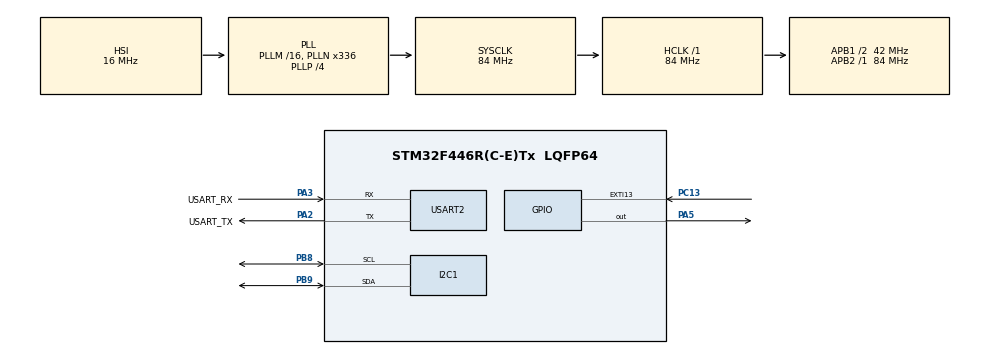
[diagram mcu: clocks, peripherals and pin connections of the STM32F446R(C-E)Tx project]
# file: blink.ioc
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Mcu.Family=STM32F4
Mcu.Name=STM32F446R(C-E)Tx
Mcu.Package=LQFP64
NUCLEO-F446RE.BUTTON=1
NUCLEO-F446RE.LD1=true
NVIC.EXTI15_10_IRQn=true\:0\:0\:false\:false\:true\:false\:true\:true
NVIC.PriorityGroup=NVIC_PRIORITYGROUP_0
PA13.GPIO_Label=TMS
PA13.Signal=SYS_JTMS-SWDIO
PA14.GPIO_Label=TCK
PA14.Signal=SYS_JTCK-SWCLK
PA2.GPIO_Label=USART_TX
PA2.Mode=Asynchronous
PA2.Signal=USART2_TX
PA3.GPIO_Label=USART_RX
PA3.Mode=Asynchronous
PA3.Signal=USART2_RX
PA5.Signal=GPIO_Output
PB3.GPIO_Label=SWO
PB3.Signal=SYS_JTDO-SWO
PB8.Mode=I2C
PB8.Signal=I2C1_SCL
PB9.Mode=I2C
PB9.Signal=I2C1_SDA
PC13.Signal=GPXTI13
PC14-OSC32_IN.Signal=RCC_OSC32_IN
PC15-OSC32_OUT.Signal=RCC_OSC32_OUT
PH0-OSC_IN.Signal=RCC_OSC_IN
PH1-OSC_OUT.Signal=RCC_OSC_OUT
ProjectManager.HeapSize=0x200
ProjectManager.StackSize=0x400
ProjectManager.TargetToolchain=STM32CubeIDE
RCC.AHBFreq_Value=84000000
RCC.APB1CLKDivider=RCC_HCLK_DIV2
RCC.APB1Freq_Value=42000000
RCC.APB1TimFreq_Value=84000000
RCC.APB2Freq_Value=84000000
RCC.APB2TimFreq_Value=84000000
RCC.CortexFreq_Value=84000000
RCC.FLatency-AdvancedSettings=FLASH_LATENCY_2
RCC.HCLKFreq_Value=84000000
RCC.HSE_VALUE=8000000
RCC.HSI_VALUE=16000000
RCC.LSE_VALUE=32768
RCC.PLLN=336
RCC.PLLP=RCC_PLLP_DIV4
RCC.SYSCLKFreq_VALUE=84000000
RCC.SYSCLKSource=RCC_SYSCLKSOURCE_PLLCLK
RCC.USBFreq_Value=168000000
RCC.VCOOutputFreq_Value=336000000
USART2.VirtualMode=VM_ASYNC
VP_NUCLEO-F446RE_VS_BSP_COMMON.Mode=COMMON
board=NUCLEO-F446RE

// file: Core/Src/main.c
/* USER CODE BEGIN Header */
/**
  ******************************************************************************
  * @file           : main.c
  * @brief          : Main program body
  ******************************************************************************
  * @attention
  *
  * Copyright (c) 2026 STMicroelectronics.
  * All rights reserved.
  *
  * This software is licensed under terms that can be found in the LICENSE file
  * in the root directory of this software component.
  * If no LICENSE file comes with this software, it is provided AS-IS.
  *
  ******************************************************************************
  */
/* USER CODE END Header */
#include "main.h"

/* USER CODE BEGIN Includes */
#include <stdio.h>
/* USER CODE END Includes */

/* USER CODE BEGIN PD */
#define BME_ADDR (0x77 << 1)
#define LSM_ADDR (0x6A << 1)
/* USER CODE END PD */

I2C_HandleTypeDef hi2c1;

UART_HandleTypeDef huart2;

/* USER CODE BEGIN PV */
uint16_t dig_T1;
int16_t  dig_T2, dig_T3;
/* USER CODE END PV */

void SystemClock_Config(void);
static void MX_GPIO_Init(void);
static void MX_USART2_UART_Init(void);
static void MX_I2C1_Init(void);

/* USER CODE BEGIN 0 */
int __io_putchar(int ch)
{
  HAL_UART_Transmit(&huart2, (uint8_t *)&ch, 1, HAL_MAX_DELAY);
  return ch;
}

#define I2C_TIMEOUT 100000U

// Wait for a status flag in SR1. Returns 0 if it appeared, negative on error.
static int i2c_wait_sr1(uint32_t flag)
{
  uint32_t t = I2C_TIMEOUT;
  while (!(I2C1->SR1 & flag))
  {
    if (I2C1->SR1 & I2C_SR1_AF)        // device answered NACK
    {
      I2C1->SR1 &= ~I2C_SR1_AF;
      I2C1->CR1 |= I2C_CR1_STOP;
      return -1;
    }
    if (--t == 0)                      // gave up waiting
    {
      I2C1->CR1 |= I2C_CR1_STOP;
      return -2;
    }
  }
  return 0;
}

// Write one byte to one sensor register
static int i2c_write_reg(uint8_t addr, uint8_t reg, uint8_t value)
{
  I2C1->CR1 |= I2C_CR1_START;                  // 1. START
  if (i2c_wait_sr1(I2C_SR1_SB)) return -1;

  I2C1->DR = addr;                         // 2. address + write bit (0)
  if (i2c_wait_sr1(I2C_SR1_ADDR)) return -2;
  (void)I2C1->SR2;                             //    reading SR1 then SR2 clears ADDR

  I2C1->DR = reg;                              // 3. which register
  if (i2c_wait_sr1(I2C_SR1_TXE)) return -3;

  I2C1->DR = value;                            // 4. the value
  if (i2c_wait_sr1(I2C_SR1_BTF)) return -4;    //    wait until it's fully sent

  I2C1->CR1 |= I2C_CR1_STOP;                   // 5. STOP
  while (I2C1->CR1 & I2C_CR1_STOP);            //    wait for STOP to finish
  return 0;
}

// Read 'len' bytes starting at sensor register 'reg'
static int i2c_read_regs(uint8_t addr, uint8_t reg, uint8_t *buf, uint8_t len)
{
  // Part 1: tell the sensor which register we want
  I2C1->CR1 |= I2C_CR1_START;
  if (i2c_wait_sr1(I2C_SR1_SB)) return -1;
  I2C1->DR = addr;                         // address + write bit
  if (i2c_wait_sr1(I2C_SR1_ADDR)) return -2;
  (void)I2C1->SR2;
  I2C1->DR = reg;
  if (i2c_wait_sr1(I2C_SR1_BTF)) return -3;

  // Part 2: repeated START, then switch to reading
  I2C1->CR1 |= I2C_CR1_START;
  if (i2c_wait_sr1(I2C_SR1_SB)) return -4;
  I2C1->DR = addr | 1;                     // address + read bit (1)

  if (len == 1)
  {
    if (i2c_wait_sr1(I2C_SR1_ADDR)) return -5;
    I2C1->CR1 &= ~I2C_CR1_ACK;                 // NACK the only byte
    (void)I2C1->SR2;
    I2C1->CR1 |= I2C_CR1_STOP;
  }
  else
  {
    I2C1->CR1 |= I2C_CR1_ACK;                  // ACK every byte except the last
    if (i2c_wait_sr1(I2C_SR1_ADDR)) return -5;
    (void)I2C1->SR2;
  }

  for (uint8_t i = 0; i < len; i++)
  {
    if (i2c_wait_sr1(I2C_SR1_RXNE)) return -6;
    buf[i] = I2C1->DR;
    if (i == len - 2)                          // the last byte is arriving now:
    {
      I2C1->CR1 &= ~I2C_CR1_ACK;               //   NACK it
      I2C1->CR1 |= I2C_CR1_STOP;               //   and STOP right after
    }
  }
  while (I2C1->CR1 & I2C_CR1_STOP);
  return 0;
}

/* USER CODE END 0 */

int main(void)
{

  /* MCU Configuration--------------------------------------------------------*/

  /* Reset of all peripherals, Initializes the Flash interface and the Systick. */
  HAL_Init();

  /* Configure the system clock */
  SystemClock_Config();

  /* Initialize all configured peripherals */
  MX_GPIO_Init();
  MX_USART2_UART_Init();
  MX_I2C1_Init();
  /* USER CODE BEGIN 2 */
  uint8_t id = 0;
  int err;

  // LSM6DSOX: check ID, then turn on accel + gyro
  err = i2c_read_regs(LSM_ADDR, 0x0F, &id, 1);
  printf("LSM6DSOX: err=%d, ID=0x%02X (expect 0x6C)\r\n", err, id);
  i2c_write_reg(LSM_ADDR, 0x12, 0x44);  // CTRL3_C
  i2c_write_reg(LSM_ADDR, 0x10, 0x40);  // CTRL1_XL
  i2c_write_reg(LSM_ADDR, 0x11, 0x40);  // CTRL2_G

  // BME280: check ID, start measuring, read calibration
  err = i2c_read_regs(BME_ADDR, 0xD0, &id, 1);
  printf("BME280:   err=%d, ID=0x%02X (expect 0x60)\r\n", err, id);
  i2c_write_reg(BME_ADDR, 0xF4, 0x27);  // ctrl_meas: temp + pressure on, normal mode

  uint8_t cal[6];
  i2c_read_regs(BME_ADDR, 0x88, cal, 6);
  dig_T1 = (uint16_t)(cal[1] << 8 | cal[0]);
  dig_T2 = (int16_t)(cal[3] << 8 | cal[2]);
  dig_T3 = (int16_t)(cal[5] << 8 | cal[4]);
  /* USER CODE END 2 */

  /* Initialize leds */
  BSP_LED_Init(LED2);

  /* Initialize USER push-button, will be used to trigger an interrupt each time it's pressed.*/
  BSP_PB_Init(BUTTON_USER, BUTTON_MODE_EXTI);

  /* Infinite loop */
  while (1)
  {

    /* USER CODE BEGIN 3 */
    HAL_GPIO_TogglePin(GPIOA, GPIO_PIN_5);
    HAL_Delay(200);

    uint8_t raw[12];
    if (i2c_read_regs(LSM_ADDR, 0x22, raw, 12) == 0)
    {
      int16_t gx = (int16_t)(raw[1]  << 8 | raw[0]);
      int16_t gy = (int16_t)(raw[3]  << 8 | raw[2]);
      int16_t gz = (int16_t)(raw[5]  << 8 | raw[4]);
      int16_t ax = (int16_t)(raw[7]  << 8 | raw[6]);
      int16_t ay = (int16_t)(raw[9]  << 8 | raw[8]);
      int16_t az = (int16_t)(raw[11] << 8 | raw[10]);

      printf("accel (mg): %6d %6d %6d | gyro (dps): %4d %4d %4d\r\n",
             ax * 61 / 1000, ay * 61 / 1000, az * 61 / 1000,
             gx * 875 / 100000, gy * 875 / 100000, gz * 875 / 100000);
    }
    uint8_t t[3];
    if (i2c_read_regs(BME_ADDR, 0xFA, t, 3) == 0)
    {
      int32_t adc_T = ((int32_t)t[0] << 12) | ((int32_t)t[1] << 4) | (t[2] >> 4);

      // Bosch's official integer formula from the BME280 datasheet
      int32_t var1 = ((((adc_T >> 3) - ((int32_t)dig_T1 << 1))) * ((int32_t)dig_T2)) >> 11;
      int32_t var2 = (((((adc_T >> 4) - ((int32_t)dig_T1)) *
                        ((adc_T >> 4) - ((int32_t)dig_T1))) >> 12) * ((int32_t)dig_T3)) >> 14;
      int32_t temp = ((var1 + var2) * 5 + 128) >> 8;   // in hundredths of a degree C

      printf("temp: %ld.%02ld C\r\n", temp / 100, temp % 100);
    }
  }
  /* USER CODE END 3 */
}

void SystemClock_Config(void)
{
  RCC_OscInitTypeDef RCC_OscInitStruct = {0};
  RCC_ClkInitTypeDef RCC_ClkInitStruct = {0};

  /** Configure the main internal regulator output voltage
  */
  __HAL_RCC_PWR_CLK_ENABLE();
  __HAL_PWR_VOLTAGESCALING_CONFIG(PWR_REGULATOR_VOLTAGE_SCALE3);

  /** Initializes the RCC Oscillators according to the specified parameters
  * in the RCC_OscInitTypeDef structure.
  */
  RCC_OscInitStruct.OscillatorType = RCC_OSCILLATORTYPE_HSI;
  RCC_OscInitStruct.HSIState = RCC_HSI_ON;
  RCC_OscInitStruct.HSICalibrationValue = RCC_HSICALIBRATION_DEFAULT;
  RCC_OscInitStruct.PLL.PLLState = RCC_PLL_ON;
  RCC_OscInitStruct.PLL.PLLSource = RCC_PLLSOURCE_HSI;
  RCC_OscInitStruct.PLL.PLLM = 16;
  RCC_OscInitStruct.PLL.PLLN = 336;
  RCC_OscInitStruct.PLL.PLLP = RCC_PLLP_DIV4;
  RCC_OscInitStruct.PLL.PLLQ = 2;
  RCC_OscInitStruct.PLL.PLLR = 2;
  if (HAL_RCC_OscConfig(&RCC_OscInitStruct) != HAL_OK)
  {
    Error_Handler();
  }

  /** Initializes the CPU, AHB and APB buses clocks
  */
  RCC_ClkInitStruct.ClockType = RCC_CLOCKTYPE_HCLK|RCC_CLOCKTYPE_SYSCLK
                              |RCC_CLOCKTYPE_PCLK1|RCC_CLOCKTYPE_PCLK2;
  RCC_ClkInitStruct.SYSCLKSource = RCC_SYSCLKSOURCE_PLLCLK;
  RCC_ClkInitStruct.AHBCLKDivider = RCC_SYSCLK_DIV1;
  RCC_ClkInitStruct.APB1CLKDivider = RCC_HCLK_DIV2;
  RCC_ClkInitStruct.APB2CLKDivider = RCC_HCLK_DIV1;

  if (HAL_RCC_ClockConfig(&RCC_ClkInitStruct, FLASH_LATENCY_2) != HAL_OK)
  {
    Error_Handler();
  }
}

static void MX_I2C1_Init(void)
{

  hi2c1.Instance = I2C1;
  hi2c1.Init.ClockSpeed = 100000;
  hi2c1.Init.DutyCycle = I2C_DUTYCYCLE_2;
  hi2c1.Init.OwnAddress1 = 0;
  hi2c1.Init.AddressingMode = I2C_ADDRESSINGMODE_7BIT;
  hi2c1.Init.DualAddressMode = I2C_DUALADDRESS_DISABLE;
  hi2c1.Init.OwnAddress2 = 0;
  hi2c1.Init.GeneralCallMode = I2C_GENERALCALL_DISABLE;
  hi2c1.Init.NoStretchMode = I2C_NOSTRETCH_DISABLE;
  if (HAL_I2C_Init(&hi2c1) != HAL_OK)
  {
    Error_Handler();
  }

}

static void MX_USART2_UART_Init(void)
{

  huart2.Instance = USART2;
  huart2.Init.BaudRate = 115200;
  huart2.Init.WordLength = UART_WORDLENGTH_8B;
  huart2.Init.StopBits = UART_STOPBITS_1;
  huart2.Init.Parity = UART_PARITY_NONE;
  huart2.Init.Mode = UART_MODE_TX_RX;
  huart2.Init.HwFlowCtl = UART_HWCONTROL_NONE;
  huart2.Init.OverSampling = UART_OVERSAMPLING_16;
  if (HAL_UART_Init(&huart2) != HAL_OK)
  {
    Error_Handler();
  }

}

static void MX_GPIO_Init(void)
{

  /* GPIO Ports Clock Enable */
  __HAL_RCC_GPIOC_CLK_ENABLE();
  __HAL_RCC_GPIOH_CLK_ENABLE();
  __HAL_RCC_GPIOA_CLK_ENABLE();
  __HAL_RCC_GPIOB_CLK_ENABLE();

}

void Error_Handler(void)
{
  __disable_irq();
  while (1)
  {
  }
}
